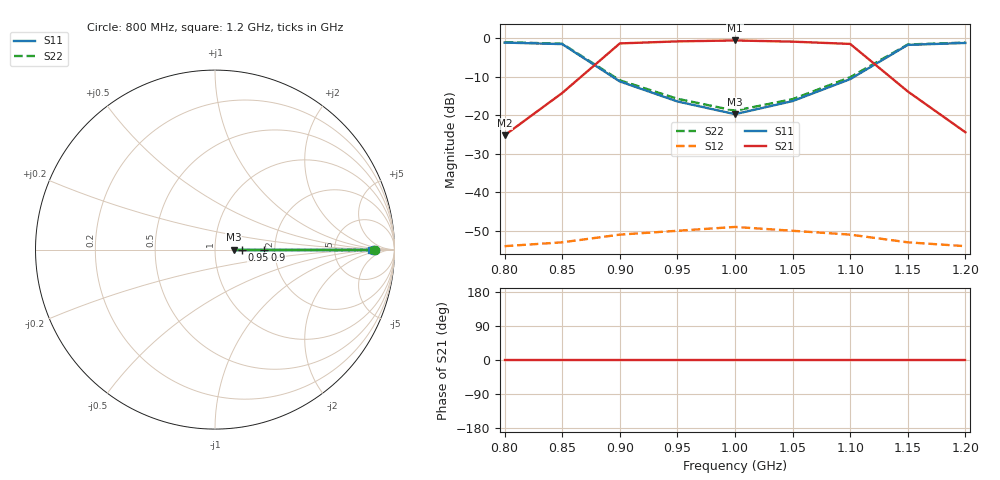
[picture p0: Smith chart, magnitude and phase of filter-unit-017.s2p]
! Synthetic passing unit
# MHz S DB R 50
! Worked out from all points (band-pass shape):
!   9 points, 800 MHz to 1.2 GHz, reference 50 ohm
!   highest |S21| = -0.55 dB at 1 GHz (marker M1); lowest = -25.2 dB at 800 MHz (marker M2)
!   |S21| within 3 dB of the highest: 891.3 MHz to 1.109 GHz (217.2 MHz wide, 21.7 % of centre)
!   lowest |S11| = -19.7 dB at 1 GHz (marker M3), VSWR 1.23, Z = 61.5 + j0 ohm
!   |S11| at or under -10 dB: 893.8 MHz to 1.103 GHz (209.6 MHz wide, 21 % of centre)
!   |S22| runs from -18.8 to -1.0 dB; largest |S21 - S12| = 0.94
!   S11 on the Smith chart (normalised r, x): 800 MHz: 16, +0; 900 MHz: 1.76, +0.00; 950 MHz: 1.36, +0.00; 1.2 GHz: 14, +0
800  -1.10 0.0  -25.20 0.0  -54.00 0.0  -1.00 0.0
850  -1.50 0.0  -14.20 0.0  -53.00 0.0  -1.40 0.0
900  -11.20 0.0  -1.32 0.0  -51.00 0.0  -10.90 0.0
950  -16.40 0.0  -0.79 0.0  -50.00 0.0  -15.70 0.0
1000  -19.70 0.0  -0.55 0.0  -49.00 0.0  -18.80 0.0
1050  -16.30 0.0  -0.86 0.0  -50.00 0.0  -15.80 0.0
1100  -10.60 0.0  -1.45 0.0  -51.00 0.0  -10.10 0.0
1150  -1.70 0.0  -13.80 0.0  -53.00 0.0  -1.60 0.0
1200  -1.20 0.0  -24.40 0.0  -54.00 0.0  -1.10 0.0
